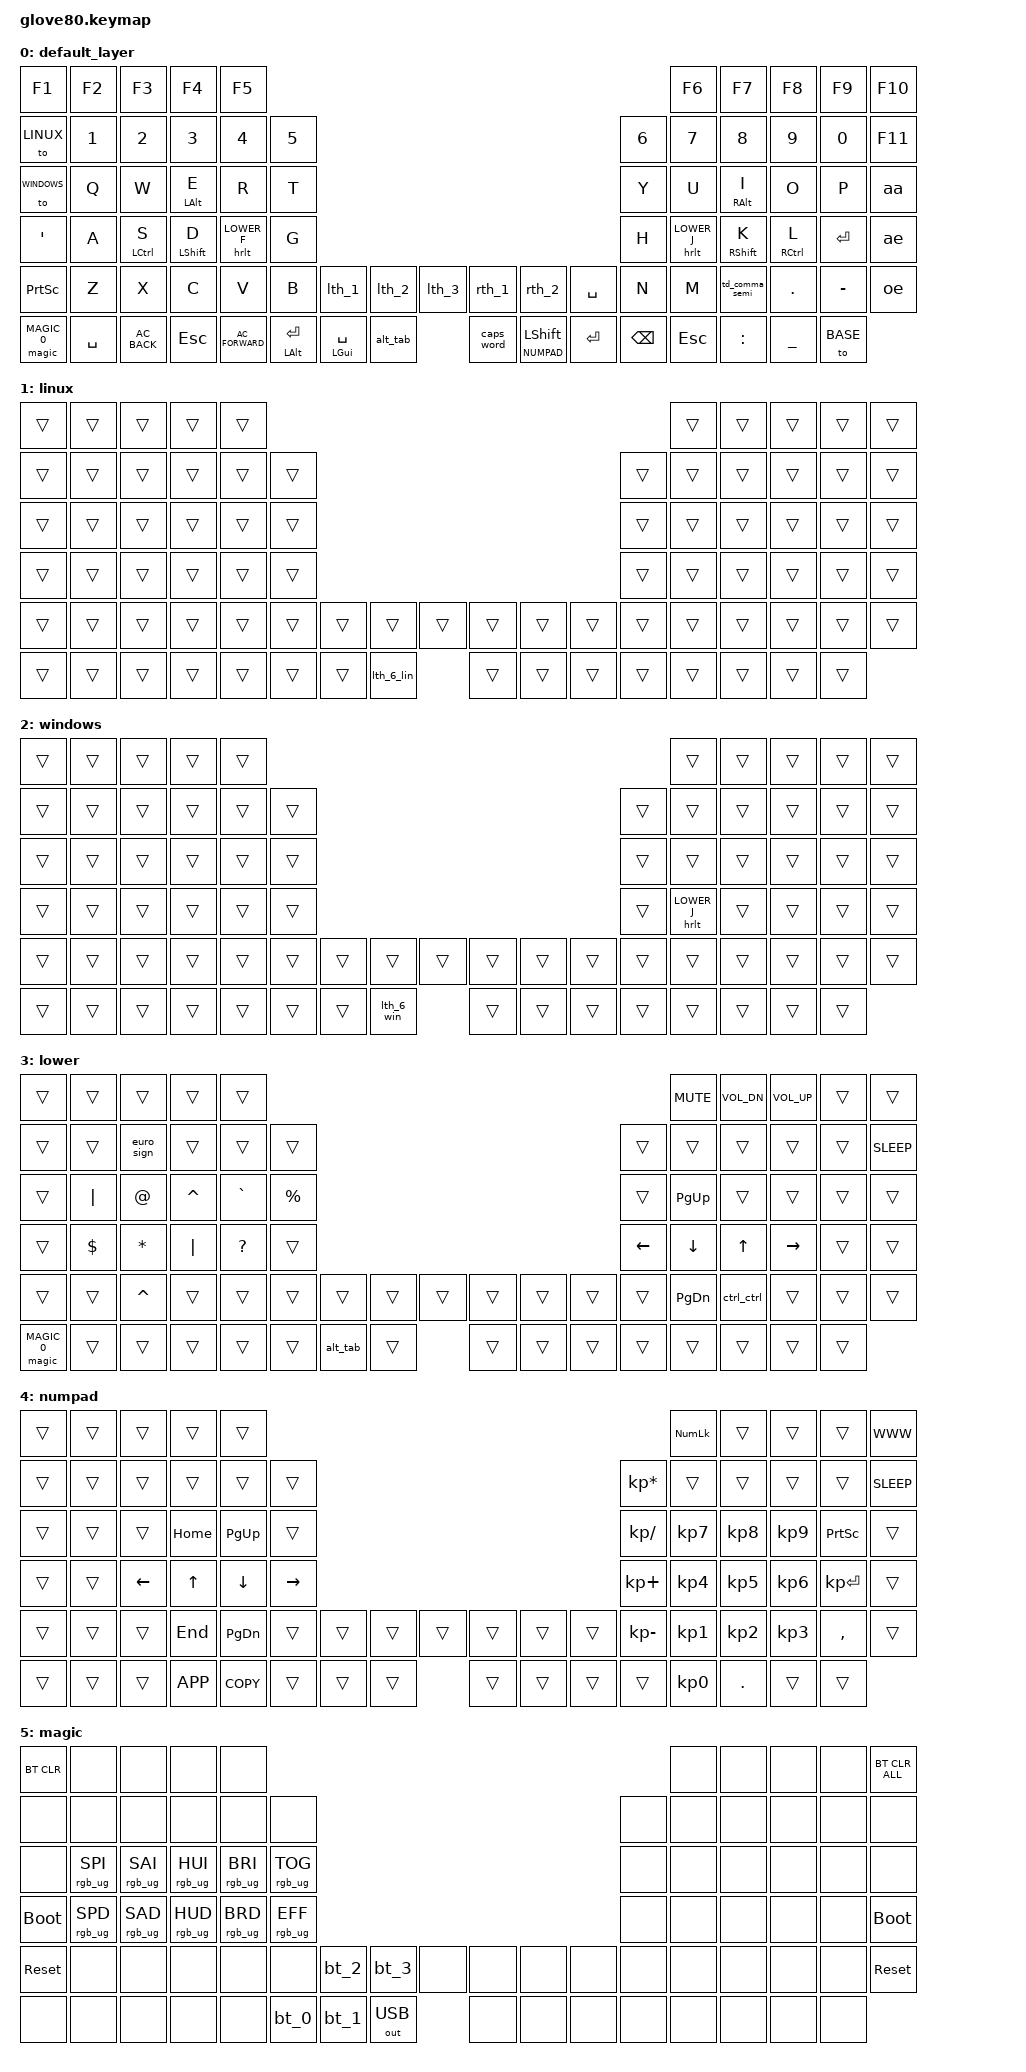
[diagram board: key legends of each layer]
#include <behaviors.dtsi>
/* Include all behaviour includes needed by system behaviors/macros */
#include <dt-bindings/zmk/keys.h>
#include <dt-bindings/zmk/bt.h>
#include <dt-bindings/zmk/rgb.h>
#include <dt-bindings/zmk/outputs.h>

#include "helper.h"
#include "keypos_glv80.h"
#include "danish.dtsi"

#define ___ &trans
#define XXX &none

#define BASE 0
#define LINUX 1
#define WINDOWS 2
#define LOWER 3
#define NUMPAD 4
#define MAGIC 5

#define CORE BASE LINUX WINDOWS

/* Glove80 system behavior & macros */
ZMK_BEHAVIOR(lower, tap_dance, tapping-term-ms = <200>; bindings = <&mo LOWER>, <&to LOWER>;)
ZMK_BEHAVIOR(rgb_ug_status_macro, macro, bindings = <&rgb_ug RGB_STATUS>;)
ZMK_BEHAVIOR(bt_0, macro, bindings = <&out OUT_BLE>, <&bt BT_SEL 0>;)
ZMK_BEHAVIOR(bt_1, macro, bindings = <&out OUT_BLE>, <&bt BT_SEL 1>;)
ZMK_BEHAVIOR(bt_2, macro, bindings = <&out OUT_BLE>, <&bt BT_SEL 2>;)
ZMK_BEHAVIOR(bt_3, macro, bindings = <&out OUT_BLE>, <&bt BT_SEL 3>;)
ZMK_BEHAVIOR(magic, hold_tap, flavor = "tap-preferred"; tapping-term-ms = <200>; bindings = <&mo>, <&rgb_ug_status_macro>;)

/****************************************************************/
                         /* VARIABLES */
/****************************************************************/
	
#define COMBO_TIMEOUT_MS 50                /* How quickly combo keys must be pressed together */
#define TAPPING_TERM_MS 200
#define QUICK_TAP_MS 125
#define THUMB_TAP_MS 300
#define STICKY_KEY_RELEASE_AFTER_MS 2000   /* How long Sticky Keys stay pressed */
#define HOME_ROW_MODS_TAPPING_TERM_MS 280  /* How long to hold to activate home row mods for same side or mouse usage */
#define HOME_ROW_MODS_QUICK_TAP_MS 150     /* Cool down after typing before home row mods can be used */

/* Left hand key positions for use with right hand mods */
#define LEFT_HAND_KEYS   \
    0  1  2  3  4        \
    10 11 12 13 14 15    \
    22 23 24 25 26 27    \
    34 35 36 37 38 39    \
    46 47 48 49 50 51    \
    64 65 66 67 68

/* Right hand key positions for use with left hand mods */
#define RIGHT_HAND_KEYS  \
        5  6  7  8  9    \
    16 17 18 19 20 21    \
    28 29 30 31 32 33    \
    40 41 42 43 44 45    \
    58 59 60 61 62 63    \
       75 76 77 78 79

/* Thumb key positions for use with mods on both hands */
#define THUMB_KEYS       \
    52 53 54    55 56 57 \
    69 70 71    72 73 74

/ {
  behaviors {
    num_word: behavior_num_word {
      compatible     = "zmk,behavior-caps-word";
      // label          = "NUM_WORD";
      #binding-cells = <0>;
      // layers         = <NUMPAD>;
      continue-list  = <BACKSPACE DELETE DOT COMMA                                  \
                        KP_DOT KP_SLASH KP_PLUS KP_MULTIPLY KP_MINUS KP_ENTER       \
                        KP_N0 KP_N1 KP_N2 KP_N3 KP_N4 KP_N5 KP_N6 KP_N7 KP_N8 KP_N9>;
      // ignore-numbers;
    };
  };
};

// homerow modifiers
ZMK_BEHAVIOR(hrm, hold_tap,
    flavor = "balanced";
    tapping-term-ms = <HOME_ROW_MODS_TAPPING_TERM_MS>;
    quick-tap-ms = <QUICK_TAP_MS>;
    global-quick-tap;
    bindings = <&kp>, <&kp>;
)
// homerow layertaps
ZMK_BEHAVIOR(hrlt, hold_tap,
    flavor = "balanced";
    tapping-term-ms = <HOME_ROW_MODS_TAPPING_TERM_MS>;
    quick-tap-ms = <QUICK_TAP_MS>;
    global-quick-tap;
    bindings = <&mo>, <&kp>;
)

ZMK_BEHAVIOR(ht_mo_sk, hold_tap,
    flavor = "hold-preferred";
    tapping-term-ms = <TAPPING_TERM_MS>;
    quick-tap-ms = <QUICK_TAP_MS>;
    bindings = <&mo>, <&sk>;
)

ZMK_BEHAVIOR(ht_hp, hold_tap,
    flavor = "hold-preferred";
    tapping-term-ms = <TAPPING_TERM_MS>;
    quick-tap-ms = <QUICK_TAP_MS>;
    bindings = <&kp>, <&kp>;
)

ZMK_BEHAVIOR(ht_hp_mo, hold_tap,
    flavor = "hold-preferred";
    tapping-term-ms = <TAPPING_TERM_MS>;
    quick-tap-ms = <QUICK_TAP_MS>;
    bindings = <&mo>, <&kp>;
)

/* Thumb keys */

ZMK_BEHAVIOR(lth_1, tap_dance,
    tapping-term-ms = <THUMB_TAP_MS>;
    bindings = <&kp LC(F8)>, <&kp LC(F9)>, <&kp LC(F10)>;
)

ZMK_BEHAVIOR(lth_2, tap_dance,
    tapping-term-ms = <THUMB_TAP_MS>;
    bindings = <&kp DELETE>, <&kp LG(S)>; // TBD:
)

ZMK_BEHAVIOR(lth_3, tap_dance,
    tapping-term-ms = <THUMB_TAP_MS>;
    bindings = <&kp LC(TAB)>, <&kp LG(S)>; // TBD:
)

ZMK_BEHAVIOR(lth_4, tap_dance,
    tapping-term-ms = <THUMB_TAP_MS>;
    bindings = <&lt LOWER RETURN>, <&kp LG(S)>; // TBD:
)

ZMK_BEHAVIOR(lth_5, tap_dance,
    tapping-term-ms = <QUICK_TAP_MS>;
    bindings = <&ht_hp LGUI SPACE>, <&kp LG(D)>; // TBD:
)

ZMK_BEHAVIOR(lth_6_lin, tap_dance,
    tapping-term-ms = <THUMB_TAP_MS>;
    bindings = <&kp LG(s)>, <&kp LG(KP_N2)>, <&kp LG(KP_N3)>, <&kp LG(KP_N4)>;
)

ZMK_BEHAVIOR(lth_6_win, tap_dance,
    tapping-term-ms = <THUMB_TAP_MS>;
    bindings = <&alt_tab>, <&kp LG(PG_DN)>;
)

ZMK_BEHAVIOR(rth_1, tap_dance,
    tapping-term-ms = <TAPPING_TERM_MS>;
    bindings = <&kp LC(A)>, <&kp LG(N2)>; // TBD:
)

ZMK_BEHAVIOR(rth_2, tap_dance,
    tapping-term-ms = <TAPPING_TERM_MS>;
    bindings = <&kp LA(P)>, <&kp LG(E)>; // TBD:
)

ZMK_BEHAVIOR(rth_4_base, tap_dance,
    tapping-term-ms = <THUMB_TAP_MS>;
    bindings = <&sk RCTRL>, <&kp LG(PG_DN)>, <&kp LG(PG_UP)>;
)

ZMK_BEHAVIOR(rth_4_win, tap_dance,
    tapping-term-ms = <THUMB_TAP_MS>;
    bindings = <&sk RCTRL>, <&kp LG(PG_DN)>, <&kp LG(PG_UP)>;
)

ZMK_BEHAVIOR(rth_4_lin, tap_dance,
    tapping-term-ms = <THUMB_TAP_MS>;
    bindings = <&sk RCTRL>, <&kp LA(SPACE)>, <&kp LA(TAB)>;
)

//// tap: holdtap stickyshift &mo NUMPAD | doubletap: <WIN-Escape>
ZMK_BEHAVIOR(rth_5, tap_dance,
    tapping-term-ms = <TAPPING_TERM_MS>;
    bindings = <&ht_mo_sk NUMPAD LSHFT>, <&kp LG(ESCAPE)>; // TBD:
)

//// tap: comma | doubletap: semicolon
ZMK_BEHAVIOR(td_comma_semi, tap_dance,
    tapping-term-ms = <THUMB_TAP_MS>;
    bindings = <&kp COMMA>, <&kp SEMICOLON>;
)

// tap: sticky shift | double tap: capsword
ZMK_BEHAVIOR(ss_cw, tap_dance,
    tapping-term-ms = <200>;
    bindings = <&sk LSHFT>, <&kp L>;
)

ZMK_BEHAVIOR(cp_paste_cut, tap_dance,
    tapping-term-ms = <200>;
    bindings = <&kp LC(C)>, <&kp LC(V)>, <&kp LC(X)>;
)

// Alt tab
ZMK_BEHAVIOR(alt_tab, macro,
    wait-ms = <100>;
    tap-ms  = <5>;
    bindings
        = <&macro_press &kp LALT>
        , <&macro_tap &kp TAB>
        , <&macro_release &kp LALT>;
)

ZMK_BEHAVIOR(sel_word, macro,
    wait-ms = <100>;
    tap-ms  = <5>;
    bindings
        = <&macro_tap &kp LC(RIGHT)>
        , <&macro_wait_time 1>
        , <&macro_tap &kp LC(LEFT) &kp LC(LS(RIGHT))>;
)

ZMK_BEHAVIOR(ext_word, macro,
    wait-ms = <100>;
    tap-ms  = <5>;
    bindings
        = <&macro_tap &kp LC(LS(RIGHT))>;
)

ZMK_BEHAVIOR(sel_line, macro,
    wait-ms = <100>;
    tap-ms  = <5>;
    bindings
        = <&macro_tap &kp HOME &kp LS(END)>;
)

ZMK_BEHAVIOR(ext_line, macro,
    wait-ms = <100>;
    tap-ms  = <5>;
    bindings
        = <&macro_tap &kp LS(DOWN) &kp LS(END)>;
)

ZMK_BEHAVIOR(ae_low, macro,
    wait-ms = <100>;
    tap-ms  = <5>;
    bindings
        = <&macro_press &kp LALT>
        , <&macro_tap &kp KP_N0>
        , <&macro_tap &kp KP_N2>
        , <&macro_tap &kp KP_N3>
        , <&macro_tap &kp KP_N0>
        , <&macro_release &kp LALT>;
)

ZMK_BEHAVIOR(ae_cap, macro,
    wait-ms = <100>;
    tap-ms  = <5>;
    bindings
        = <&macro_press &kp LALT>
        , <&macro_tap &kp KP_N0>
        , <&macro_tap &kp KP_N1>
        , <&macro_tap &kp KP_N9>
        , <&macro_tap &kp KP_N8>
        , <&macro_release &kp LALT>;
)

ZMK_BEHAVIOR(oe_low, macro,
    wait-ms = <100>;
    tap-ms  = <5>;
    bindings
        = <&macro_press &kp LALT>
        , <&macro_tap &kp KP_N0>
        , <&macro_tap &kp KP_N2>
        , <&macro_tap &kp KP_N4>
        , <&macro_tap &kp KP_N8>
        , <&macro_release &kp LALT>;
)

ZMK_BEHAVIOR(oe_cap, macro,
    wait-ms = <100>;
    tap-ms  = <5>;
    bindings
        = <&macro_press &kp LALT>
        , <&macro_tap &kp KP_N0>
        , <&macro_tap &kp KP_N2>
        , <&macro_tap &kp KP_N1>
        , <&macro_tap &kp KP_N6>
        , <&macro_release &kp LALT>;
)

ZMK_BEHAVIOR(aa_low, macro,
    wait-ms = <100>;
    tap-ms  = <5>;
    bindings
        = <&macro_press &kp LALT>
        , <&macro_tap &kp KP_N0>
        , <&macro_tap &kp KP_N2>
        , <&macro_tap &kp KP_N2>
        , <&macro_tap &kp KP_N9>
        , <&macro_release &kp LALT>;
)

ZMK_BEHAVIOR(aa_cap, macro,
    wait-ms = <100>;
    tap-ms  = <5>;
    bindings
        = <&macro_press &kp LALT>
        , <&macro_tap &kp KP_N0>
        , <&macro_tap &kp KP_N1>
        , <&macro_tap &kp KP_N9>
        , <&macro_tap &kp KP_N7>
        , <&macro_release &kp LALT>;
)

ZMK_BEHAVIOR(ctrl_ctrl, macro,
    wait-ms = <100>;
    tap-ms  = <5>;
    bindings
        = <&kp LCTRL>
        , <&kp LCTRL>;
)

// windows sleep macro
ZMK_BEHAVIOR(win_sleep, macro,
    wait-ms = <100>;
    tap-ms = <5>;
    bindings = <&kp LG(X) &kp U &kp S>;
)

ZMK_BEHAVIOR(ae, mod_morph,
    bindings = <&ae_low>, <&ae_cap>;
    mods = <MOD_LSFT>;
)

ZMK_BEHAVIOR(oe, mod_morph,
    bindings = <&oe_low>, <&oe_cap>;
    mods = <MOD_LSFT>;
)

ZMK_BEHAVIOR(aa, mod_morph,
    bindings = <&aa_low>, <&aa_cap>;
    mods = <MOD_LSFT>;
)

// euro sign
ZMK_UNICODE_SINGLE(euro_sign, N2, N0, A, C)  // €

// replace a/o/u/s with German umlauts when NAV and NUM are held jointly
//ZMK_CONDITIONAL_LAYER(NAV NUM, GER)

// combos
#undef COMBO_TERM
#define COMBO_TERM 50  // timeout of 40ms (default is 30ms if omitted)
// ZMK_COMBO(combo_copy,            &kp LC(C),  LB2 LB3, ALL)         // Ctrl + C, active on all layers
// ZMK_COMBO(combo_paste,           &kp LC(V),  LB1 LB2, ALL)         // Ctrl + V, active on all layers
// ZMK_COMBO(combo_singleqts_lh,    &kp SQT,       LT1 LT2, CORE)         // [ ' ]             Singlequotes      0-gap

/* CORE LAYER */
ZMK_COMBO(combo_hash_lh,         &kp HASH,      LT1 LT2, CORE)         // [ # ]             Hash              0-gap
ZMK_COMBO(combo_doubleqts_lh,    &kp DQT,       LT2 LT3, CORE)         // [ " ]             Doublequotes      0-gap
ZMK_COMBO(combo_exclamation_lh,  &kp EXCL,      LT1 LT3, CORE)         // [ ! ]             Exclamationmark   1-gap

// ZMK_COMBO(combo_backslash_lh,    &kp BACKSLASH, LM1 LM2, CORE)         // [ \ ]             Backslash         0-gap
ZMK_COMBO(combo_slash_lh,        &kp SLASH,     LM2 LM3, CORE)         // [ / ]             Slash             0-gap
ZMK_COMBO(combo_tab_lh,          &kp TAB,       LM1 LM3, CORE NUMPAD)  // [ TAB ]           TAB               1-gap

ZMK_COMBO(combo_rbracket_lh,     &kp RBKT,      LB1 LB2, CORE)         // [ ] ]             Right bracket     0-gap
ZMK_COMBO(combo_lbracket_lh,     &kp LBKT,      LB2 LB3, CORE)         // [ [ ]             Left  bracket     0-gap
ZMK_COMBO(combo_backslash_lh,    &kp BACKSLASH, LB1 LB3, CORE)         // [ \ ]             Backslash         0-gap

/* ----------------------------- Right Hand ---------------------------------------------------------------------*/
/* CORE LAYER */
ZMK_COMBO(combo_lparantheses_rh, &kp LPAR,      RT1 RT2, CORE)         // [ ( ]             Left  parantheses 0-gap
ZMK_COMBO(combo_rparantheses_rh, &kp RPAR,      RT2 RT3, CORE)         // [ ) ]             Right parantheses 0-gap
ZMK_COMBO(combo_and_rh,          &kp AMPS,      RT0 RT1, CORE)         // [ & ]             Ampersand         0-gap
ZMK_COMBO(combo_equals_rh,       &kp EQUAL,     RT1 RT3, CORE)         // [ = ]             Equals            1-gap

ZMK_COMBO(combo_tilde_rh,        &kp TILDE,     RM0 RM1, CORE)         // [ ~ ]             Tilde             0-gap
ZMK_COMBO(combo_lcurly_rh,       &kp LBRC,      RM1 RM2, CORE)         // [ { ]             Left curly        0-gap
ZMK_COMBO(combo_rcurly_rh,       &kp RBRC,      RM2 RM3, CORE)         // [ } ]             Right curly       0-gap
ZMK_COMBO(combo_tab_rh,          &kp TAB,       RM1 RM3, CORE NUMPAD)  // [ TAB ]           TAB               1-gap

ZMK_COMBO(combo_lessthan_rh,     &kp LT,        RB1 RB2, CORE)         // [ > ]             Less than         0-gap
ZMK_COMBO(combo_greaterthan_rh,  &kp GT,        RB2 RB3, CORE)         // [ < ]             Greater than      0-gap
ZMK_COMBO(combo_slash_rh,        &kp SLASH,     RB1 RB3, CORE)         // [ / ]             Slash             0-gap

/* SEVERAL LAYERS */
ZMK_COMBO(combo_prev_word_rh,    &kp LC(LEFT),  RM1 RM2, NUMPAD LOWER) // [ Previous word ] Previous Word     0-gap
ZMK_COMBO(combo_next_word_rh,    &kp LC(RIGHT), RM2 RM3, NUMPAD LOWER) // [ Next word ]     Next Word         0-gap

/* LOWER LAYER */
ZMK_COMBO(combo_sel_word_rh,     &sel_word,     RM1 RM3, LOWER)        // [ Select word ]   Select Word       1-gap
ZMK_COMBO(combo_pgup_rh,         &kp PG_UP,     RT1 RT2, LOWER)        // [ PageUp ]        PageUp            0-gap
ZMK_COMBO(combo_home_rh,         &kp HOME,      RT1 RT3, LOWER)        // [ HOME ]          HOME              1-gap
ZMK_COMBO(combo_pddwn_rh,        &kp PG_DN,     RB1 RB2, LOWER)        // [ PageDown ]      PageDown          0-gap
ZMK_COMBO(combo_end_rh,          &kp END,       RB1 RB3, LOWER)        // [ END ]           END               1-gap

/* NUMPAD  LAYER*/
ZMK_COMBO(combo_kpmultiply_rh, &kp KP_MULTIPLY, RT1 RT2, NUMPAD)       // [ KP_MULTIPLY ]   KP_MULTIPLY       0-gap
ZMK_COMBO(combo_kpdivide_rh,     &kp SLASH,     RT2 RT3, NUMPAD)       // [ / ]             KP_DIVIDE         0-gap
ZMK_COMBO(combo_kpplus_rh,       &kp KP_PLUS,   RM1 RM2, NUMPAD)       // [ KP_PLUS ]       KP_PLUS           0-gap
ZMK_COMBO(combo_kpminus_rh,      &kp KP_MINUS,  RM2 RM3, NUMPAD)       // [ KP_MINUS ]      KP_MINUS          0-gap
ZMK_COMBO(combo_kpcomma_rh,      &kp COMMA,     RB1 RB2, NUMPAD)       // [ COMMA ]         COMMA             0-gap
ZMK_COMBO(combo_kpminus_rh,      &kp KP_DOT,    RB2 RB3, NUMPAD)       // [ KP_DOT ]        KP_DOT            0-gap

/* ----------------------------- Both hands ---------------------------------------------------------------------*/
ZMK_COMBO(combo_n0,              &kp N0,        LM1 RM1, ALL)          // [ 0 ]             Number 0
ZMK_COMBO(combo_dollasign,       &kp DOLLAR,    LM1 RM3, ALL)          // [ $ ]             Dollarsign
ZMK_COMBO(combo_caps_word,       &caps_word,    LM2 RM2, ALL)          // [ caps_word ]     Caps Word
ZMK_COMBO(combo_percent,         &kp PERCENT,   LM3 RM3, ALL)          // [ % ]             Percent

ZMK_COMBO(combo_caret,           &kp CARET,     LT2 RT2, ALL)          // [ ^ ]             Caret

ZMK_COMBO(combo_grave,           &kp GRAVE,     LB2 RB2, ALL)          // [ ` ]             Grave

/* keymap */

ZMK_LAYER(default_layer,
// ╭─────────────┬─────────────┬─────────────┬─────────────┬─────────────┬─────────────╮                                                                                             ╭─────────────┬─────────────┬─────────────┬─────────────┬─────────────┬─────────────╮
     &kp F1        &kp F2        &kp  F3       &kp F4        &kp F5                                                                                                                                  &kp F6        &kp F7        &kp F8        &kp F9        &kp F10
// ├─────────────┼─────────────┼─────────────┼─────────────┼─────────────┼─────────────┤                                                                                             ├─────────────┼─────────────┼─────────────┼─────────────┼─────────────┼─────────────┤
     &to LINUX     &kp N1        &kp  N2       &kp N3        &kp N4        &kp N5                                                                                                      &kp N6        &kp N7        &kp N8        &kp N9        &kp N0        &kp F11
// ├─────────────┼─────────────┼─────────────┼─────────────┼─────────────┼─────────────┤                                                                                             ├─────────────┼─────────────┼─────────────┼─────────────┼─────────────┼─────────────┤
     &to WINDOWS   &kp Q         &kp W         &hrm LALT E   &kp R         &kp T                                                                                                       &kp Y         &kp U         &hrm RALT I   &kp O         &kp P         &aa
// ├─────────────┼─────────────┼─────────────┼─────────────┼─────────────┼─────────────┤                                                                                             ├─────────────┼─────────────┼─────────────┼─────────────┼─────────────┼─────────────┤
     &kp SQT       &kp A         &hrm LCTRL S  &hrm LSHFT D  &hrlt LOWER F &kp G                                                                                                       &kp H         &hrlt LOWER J &hrm RSHFT K  &hrm RCTRL L  &kp RETURN    &ae
// ├─────────────┼─────────────┼─────────────┼─────────────┼─────────────┼─────────────┤ ╭─────────────┬──────────────┬──────────────╮ ╭─────────────┬──────────────┬──────────────╮ ├─────────────┼─────────────┼─────────────┼─────────────┼─────────────┼─────────────┤
     &kp PSCRN     &kp Z         &kp X         &kp C         &kp V         &kp B           &lth_1        &lth_2         &lth_3           &rth_1        &rth_2         &kp SPACE        &kp N         &kp M        &td_comma_semi &kp DOT       &kp MINUS     &oe
// ├─────────────┼─────────────┼─────────────┼─────────────┼─────────────┼─────────────┤ ├─────────────┼──────────────┼──────────────┤ ├─────────────┼──────────────┼──────────────┤ ├─────────────┼─────────────┼─────────────┼─────────────┼─────────────┼─────────────┤
     &magic MAGIC 0 &kp SPACE    &kp C_AC_BACK &kp ESCAPE    &kp C_AC_FORWARD              &hrm LALT RET &ht_hp LGUI SPACE &alt_tab   &caps_word    &ht_mo_sk NUMPAD LSHFT &kp RETURN  &kp BSPC      &kp ESCAPE    &kp COLON     &kp UNDER     &to BASE
// ╰─────────────┼─────────────┼─────────────┼─────────────┼─────────────┼─────────────╯ ╰─────────────┴──────────────┴──────────────╯ ╰─────────────┴──────────────┴──────────────╯ ╰─────────────┼─────────────┼─────────────┼─────────────┼─────────────┼─────────────╯
)

/*TODO: Add custom Linux commands */
ZMK_LAYER(linux,
// ╭─────────────┬─────────────┬─────────────┬─────────────┬─────────────┬─────────────╮                                                                                             ╭─────────────┬─────────────┬─────────────┬─────────────┬─────────────┬─────────────╮
         ___           ___           ___           ___           ___                                                                                                                                     ___           ___           ___           ___           ___
// ├─────────────┼─────────────┼─────────────┼─────────────┼─────────────┼─────────────┤                                                                                             ├─────────────┼─────────────┼─────────────┼─────────────┼─────────────┼─────────────┤
         ___           ___           ___           ___           ___           ___                                                                                                         ___           ___           ___           ___           ___           ___
// ├─────────────┼─────────────┼─────────────┼─────────────┼─────────────┼─────────────┤                                                                                             ├─────────────┼─────────────┼─────────────┼─────────────┼─────────────┼─────────────┤
         ___           ___           ___           ___           ___           ___                                                                                                         ___           ___           ___           ___           ___           ___
// ├─────────────┼─────────────┼─────────────┼─────────────┼─────────────┼─────────────┤                                                                                             ├─────────────┼─────────────┼─────────────┼─────────────┼─────────────┼─────────────┤
         ___           ___           ___           ___           ___           ___                                                                                                         ___           ___           ___           ___           ___           ___
// ├─────────────┼─────────────┼─────────────┼─────────────┼─────────────┼─────────────┤ ╭─────────────┬──────────────┬──────────────╮ ╭─────────────┬──────────────┬──────────────╮ ├─────────────┼─────────────┼─────────────┼─────────────┼─────────────┼─────────────┤
         ___           ___           ___           ___           ___           ___             ___           ___            ___              ___           ___            ___              ___           ___           ___           ___           ___           ___
// ├─────────────┼─────────────┼─────────────┼─────────────┼─────────────┼─────────────┤ ├─────────────┼──────────────┼──────────────┤ ├─────────────┼──────────────┼──────────────┤ ├─────────────┼─────────────┼─────────────┼─────────────┼─────────────┼─────────────┤
         ___           ___           ___           ___           ___                           ___           ___        &lth_6_lin           ___           ___            ___                            ___           ___           ___           ___           ___
// ╰─────────────┴─────────────┴─────────────┴─────────────┴─────────────┴─────────────╯ ╰─────────────┴──────────────┴──────────────╯ ╰─────────────┴──────────────┴──────────────╯ ╰─────────────┴─────────────┴─────────────┴─────────────┴─────────────┴─────────────╯
)

/*TODO: Add custom Windows commands */
ZMK_LAYER(windows,
// ╭─────────────┬─────────────┬─────────────┬─────────────┬─────────────┬─────────────╮                                                                                             ╭─────────────┬─────────────┬─────────────┬─────────────┬─────────────┬─────────────╮
         ___           ___           ___           ___           ___                                                                                                                                     ___           ___           ___           ___           ___
// ├─────────────┼─────────────┼─────────────┼─────────────┼─────────────┼─────────────┤                                                                                             ├─────────────┼─────────────┼─────────────┼─────────────┼─────────────┼─────────────┤
         ___           ___           ___           ___           ___           ___                                                                                                         ___           ___           ___           ___           ___           ___
// ├─────────────┼─────────────┼─────────────┼─────────────┼─────────────┼─────────────┤                                                                                             ├─────────────┼─────────────┼─────────────┼─────────────┼─────────────┼─────────────┤
         ___           ___           ___           ___           ___           ___                                                                                                         ___           ___           ___           ___           ___           ___
// ├─────────────┼─────────────┼─────────────┼─────────────┼─────────────┼─────────────┤                                                                                             ├─────────────┼─────────────┼─────────────┼─────────────┼─────────────┼─────────────┤
         ___           ___           ___           ___           ___           ___                                                                                                         ___       &hrlt LOWER J         ___           ___           ___           ___
// ├─────────────┼─────────────┼─────────────┼─────────────┼─────────────┼─────────────┤ ╭─────────────┬──────────────┬──────────────╮ ╭─────────────┬──────────────┬──────────────╮ ├─────────────┼─────────────┼─────────────┼─────────────┼─────────────┼─────────────┤
         ___           ___           ___           ___           ___           ___             ___           ___            ___              ___           ___            ___              ___           ___           ___           ___           ___           ___
// ├─────────────┼─────────────┼─────────────┼─────────────┼─────────────┼─────────────┤ ├─────────────┼──────────────┼──────────────┤ ├─────────────┼──────────────┼──────────────┤ ├─────────────┼─────────────┼─────────────┼─────────────┼─────────────┼─────────────┤
         ___           ___           ___           ___           ___                           ___           ___        &lth_6_win           ___           ___            ___                            ___           ___           ___           ___           ___
// ╰─────────────┴─────────────┴─────────────┴─────────────┴─────────────┴─────────────╯ ╰─────────────┴──────────────┴──────────────╯ ╰─────────────┴──────────────┴──────────────╯ ╰─────────────┴─────────────┴─────────────┴─────────────┴─────────────┴─────────────╯
)

ZMK_LAYER(lower,
// ╭─────────────┬─────────────┬─────────────┬─────────────┬─────────────┬─────────────╮                                                                                             ╭─────────────┬─────────────┬─────────────┬─────────────┬─────────────┬─────────────╮
         ___           ___           ___           ___           ___                                                                                                                                 &kp C_MUTE    &kp C_VOL_DN  &kp C_VOL_UP      ___           ___
// ├─────────────┼─────────────┼─────────────┼─────────────┼─────────────┼─────────────┤                                                                                             ├─────────────┼─────────────┼─────────────┼─────────────┼─────────────┼─────────────┤
         ___           ___       &euro_sign        ___           ___           ___                                                                                                         ___           ___           ___           ___           ___       &kp K_SLEEP
// ├─────────────┼─────────────┼─────────────┼─────────────┼─────────────┼─────────────┤                                                                                             ├─────────────┼─────────────┼─────────────┼─────────────┼─────────────┼─────────────┤
         ___       &kp PIPE      &kp AT        &kp CARET     &kp GRAVE     &kp PRCNT                                                                                                       ___       &kp PG_UP         ___           ___           ___           ___
// ├─────────────┼─────────────┼─────────────┼─────────────┼─────────────┼─────────────┤                                                                                             ├─────────────┼─────────────┼─────────────┼─────────────┼─────────────┼─────────────┤
         ___       &kp DOLLAR    &kp STAR      &kp PIPE      &kp QMARK         ___                                                                                                     &kp LEFT      &kp DOWN      &kp UP        &kp RIGHT         ___           ___
// ├─────────────┼─────────────┼─────────────┼─────────────┼─────────────┼─────────────┤ ╭─────────────┬──────────────┬──────────────╮ ╭─────────────┬──────────────┬──────────────╮ ├─────────────┼─────────────┼─────────────┼─────────────┼─────────────┼─────────────┤
         ___           ___       &kp CARET         ___           ___           ___             ___           ___            ___              ___           ___            ___              ___       &kp PG_DN     &ctrl_ctrl        ___           ___           ___
// ├─────────────┼─────────────┼─────────────┼─────────────┼─────────────┼─────────────┤ ├─────────────┼──────────────┼──────────────┤ ├─────────────┼──────────────┼──────────────┤ ├─────────────┼─────────────┼─────────────┼─────────────┼─────────────┼─────────────┤
     &magic MAGIC 0    ___           ___           ___           ___                           ___       &alt_tab           ___              ___           ___            ___                            ___           ___           ___           ___           ___
// ╰─────────────┴─────────────┴─────────────┴─────────────┴─────────────┴─────────────╯ ╰─────────────┴──────────────┴──────────────╯ ╰─────────────┴──────────────┴──────────────╯ ╰─────────────┴─────────────┴─────────────┴─────────────┴─────────────┴─────────────╯
)

ZMK_LAYER(numpad,
// ╭─────────────┬─────────────┬─────────────┬─────────────┬─────────────┬─────────────╮                                                                                             ╭─────────────┬─────────────┬─────────────┬─────────────┬─────────────┬─────────────╮
         ___           ___           ___           ___           ___                                                                                                                                 &kp KP_NUM        ___           ___           ___       &kp K_WWW
// ├─────────────┼─────────────┼─────────────┼─────────────┼─────────────┼─────────────┤                                                                                             ├─────────────┼─────────────┼─────────────┼─────────────┼─────────────┼─────────────┤
         ___           ___           ___           ___           ___           ___                                                                                                     &kp KP_MULTIPLY  ___            ___           ___           ___       &kp K_SLEEP
// ├─────────────┼─────────────┼─────────────┼─────────────┼─────────────┼─────────────┤                                                                                             ├─────────────┼─────────────┼─────────────┼─────────────┼─────────────┼─────────────┤
         ___           ___           ___       &kp HOME      &kp PG_UP         ___                                                                                                     &kp KP_SLASH  &kp KP_N7     &kp KP_N8     &kp KP_N9     &kp PSCRN         ___
// ├─────────────┼─────────────┼─────────────┼─────────────┼─────────────┼─────────────┤                                                                                             ├─────────────┼─────────────┼─────────────┼─────────────┼─────────────┼─────────────┤
         ___           ___       &kp LEFT      &kp UP        &kp DOWN      &kp RIGHT                                                                                                   &kp KP_PLUS   &kp KP_N4     &kp KP_N5     &kp KP_N6     &kp KP_ENTER      ___
// ├─────────────┼─────────────┼─────────────┼─────────────┼─────────────┼─────────────┤ ╭─────────────┬──────────────┬──────────────╮ ╭─────────────┬──────────────┬──────────────╮ ├─────────────┼─────────────┼─────────────┼─────────────┼─────────────┼─────────────┤
         ___           ___           ___       &kp END       &kp PG_DN         ___             ___           ___            ___              ___           ___            ___          &kp KP_MINUS  &kp KP_N1     &kp KP_N2     &kp KP_N3     &kp COMMA         ___
// ├─────────────┼─────────────┼─────────────┼─────────────┼─────────────┼─────────────┤ ├─────────────┼──────────────┼──────────────┤ ├─────────────┼──────────────┼──────────────┤ ├─────────────┼─────────────┼─────────────┼─────────────┼─────────────┼─────────────┤
         ___           ___           ___       &kp K_APP     &kp K_COPY                        ___           ___            ___              ___           ___            ___                            ___       &kp KP_N0     &kp DOT           ___           ___
// ╰─────────────┴─────────────┴─────────────┴─────────────┴─────────────┴─────────────╯ ╰─────────────┴──────────────┴──────────────╯ ╰─────────────┴──────────────┴──────────────╯ ╰─────────────┴─────────────┴─────────────┴─────────────┴─────────────┴─────────────╯
)

ZMK_LAYER(magic,
// ╭─────────────┬─────────────┬─────────────┬─────────────┬─────────────┬─────────────╮                                                                                             ╭─────────────┬─────────────┬─────────────┬─────────────┬─────────────┬─────────────╮
     &bt BT_CLR        XXX           XXX           XXX           XXX                                                                                                                                     XXX           XXX           XXX           XXX       &bt BT_CLR_ALL
// ├─────────────┼─────────────┼─────────────┼─────────────┼─────────────┼─────────────┤                                                                                             ├─────────────┼─────────────┼─────────────┼─────────────┼─────────────┼─────────────┤
         XXX           XXX           XXX           XXX           XXX           XXX                                                                                                         XXX           XXX           XXX           XXX           XXX           XXX
// ├─────────────┼─────────────┼─────────────┼─────────────┼─────────────┼─────────────┤                                                                                             ├─────────────┼─────────────┼─────────────┼─────────────┼─────────────┼─────────────┤
         XXX    &rgb_ug RGB_SPI &rgb_ug RGB_SAI &rgb_ug RGB_HUI &rgb_ug RGB_BRI &rgb_ug RGB_TOG                                                                                            XXX           XXX           XXX           XXX           XXX           XXX
// ├─────────────┼─────────────┼─────────────┼─────────────┼─────────────┼─────────────┤                                                                                             ├─────────────┼─────────────┼─────────────┼─────────────┼─────────────┼─────────────┤
    &bootloader &rgb_ug RGB_SPD &rgb_ug RGB_SAD &rgb_ug RGB_HUD &rgb_ug RGB_BRD &rgb_ug RGB_EFF                                                                                            XXX           XXX           XXX           XXX           XXX       &bootloader
// ├─────────────┼─────────────┼─────────────┼─────────────┼─────────────┼─────────────┤ ╭─────────────┬──────────────┬──────────────╮ ╭─────────────┬──────────────┬──────────────╮ ├─────────────┼─────────────┼─────────────┼─────────────┼─────────────┼─────────────┤
     &sys_reset            XXX           XXX           XXX           XXX           XXX           &bt_2         &bt_3            XXX              XXX           XXX            XXX              XXX           XXX           XXX           XXX           XXX       &sys_reset
// ├─────────────┼─────────────┼─────────────┼─────────────┼─────────────┼─────────────┤ ├─────────────┼──────────────┼──────────────┤ ├─────────────┼──────────────┼──────────────┤ ├─────────────┼─────────────┼─────────────┼─────────────┼─────────────┼─────────────┤
        XXX            XXX           XXX           XXX           XXX                         &bt_0         &bt_1          &out OUT_USB       XXX           XXX            XXX                            XXX           XXX           XXX           XXX           XXX
// ╰─────────────┴─────────────┴─────────────┴─────────────┴─────────────┴─────────────╯ ╰─────────────┴──────────────┴──────────────╯ ╰─────────────┴──────────────┴──────────────╯ ╰─────────────┴─────────────┴─────────────┴─────────────┴─────────────┴─────────────╯
)

/* vim: set filetype=devicetree : */
